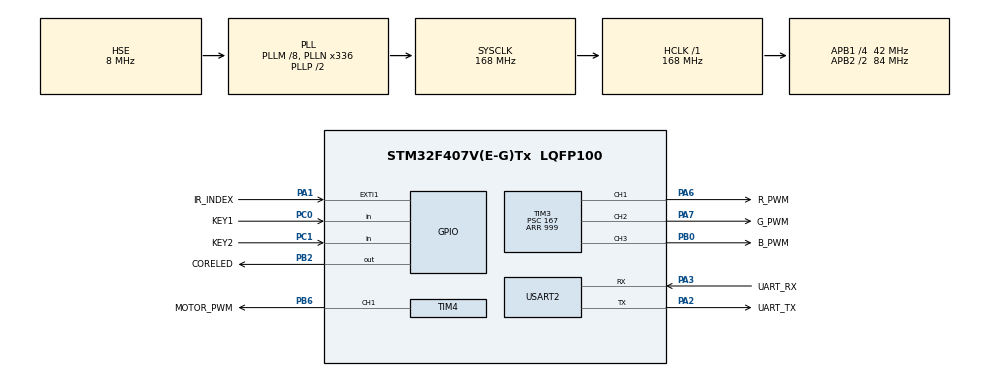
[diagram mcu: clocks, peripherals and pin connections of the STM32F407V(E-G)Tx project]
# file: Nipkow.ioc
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Mcu.Family=STM32F4
Mcu.Name=STM32F407V(E-G)Tx
Mcu.Package=LQFP100
NVIC.EXTI1_IRQn=true\:0\:0\:false\:false\:true\:true\:true\:true
NVIC.PriorityGroup=NVIC_PRIORITYGROUP_4
NVIC.USART2_IRQn=true\:0\:0\:false\:false\:true\:true\:true\:true
PA1.GPIO_Label=IR_INDEX
PA1.GPIO_ModeDefaultEXTI=GPIO_MODE_IT_FALLING
PA1.GPIO_PuPd=GPIO_PULLUP
PA1.Signal=GPXTI1
PA13.Mode=Serial_Wire
PA13.Signal=SYS_JTMS-SWDIO
PA14.Mode=Serial_Wire
PA14.Signal=SYS_JTCK-SWCLK
PA2.GPIO_Label=UART_TX
PA2.Mode=Asynchronous
PA2.Signal=USART2_TX
PA3.GPIO_Label=UART_RX
PA3.Mode=Asynchronous
PA3.Signal=USART2_RX
PA6.GPIO_Label=R_PWM
PA6.Signal=S_TIM3_CH1
PA7.GPIO_Label=G_PWM
PA7.Signal=S_TIM3_CH2
PB0.GPIO_Label=B_PWM
PB0.Signal=S_TIM3_CH3
PB2.GPIO_Label=CORELED
PB2.Signal=GPIO_Output
PB6.GPIO_Label=MOTOR_PWM
PB6.Signal=S_TIM4_CH1
PC0.GPIO_Label=KEY1
PC0.GPIO_PuPd=GPIO_PULLUP
PC0.Signal=GPIO_Input
PC1.GPIO_Label=KEY2
PC1.GPIO_PuPd=GPIO_PULLUP
PC1.Signal=GPIO_Input
PH0-OSC_IN.Mode=HSE-External-Oscillator
PH0-OSC_IN.Signal=RCC_OSC_IN
PH1-OSC_OUT.Mode=HSE-External-Oscillator
PH1-OSC_OUT.Signal=RCC_OSC_OUT
ProjectManager.HeapSize=0x200
ProjectManager.StackSize=0x400
ProjectManager.TargetToolchain=CMake
RCC.48MHZClocksFreq_Value=84000000
RCC.AHBFreq_Value=168000000
RCC.APB1CLKDivider=RCC_HCLK_DIV4
RCC.APB1Freq_Value=42000000
RCC.APB1TimFreq_Value=84000000
RCC.APB2CLKDivider=RCC_HCLK_DIV2
RCC.APB2Freq_Value=84000000
RCC.APB2TimFreq_Value=168000000
RCC.CortexFreq_Value=168000000
RCC.HCLKFreq_Value=168000000
RCC.HSE_VALUE=8000000
RCC.HSI_VALUE=16000000
RCC.LSE_VALUE=32768
RCC.PLLM=8
RCC.PLLN=336
RCC.PLLSourceVirtual=RCC_PLLSOURCE_HSE
RCC.SYSCLKFreq_VALUE=168000000
RCC.SYSCLKSource=RCC_SYSCLKSOURCE_PLLCLK
RCC.VCOOutputFreq_Value=336000000
SH.S_TIM3_CH1.0=TIM3_CH1,PWM Generation1 CH1
SH.S_TIM3_CH2.0=TIM3_CH2,PWM Generation2 CH2
SH.S_TIM3_CH3.0=TIM3_CH3,PWM Generation3 CH3
SH.S_TIM4_CH1.0=TIM4_CH1,PWM Generation1 CH1
TIM3.Channel-PWM\ Generation1\ CH1=TIM_CHANNEL_1
TIM3.Channel-PWM\ Generation2\ CH2=TIM_CHANNEL_2
TIM3.Channel-PWM\ Generation3\ CH3=TIM_CHANNEL_3
TIM3.Period=999
TIM3.Prescaler=167
TIM4.Channel-PWM\ Generation1\ CH1=TIM_CHANNEL_1
TIM4.Period=999
TIM4.Prescaler=167
USART2.VirtualMode=VM_ASYNC
VP_TIM3_VS_ClockSourceINT.Mode=Internal
VP_TIM4_VS_ClockSourceINT.Mode=Internal
board=custom

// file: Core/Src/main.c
/* USER CODE BEGIN Header */
/**
 ******************************************************************************
 * @file           : main.c
 * @brief          : Main program body
 ******************************************************************************
 * @attention
 *
 * Copyright (c) 2026 STMicroelectronics.
 * All rights reserved.
 *
 * This software is licensed under terms that can be found in the LICENSE file
 * in the root directory of this software component.
 * If no LICENSE file comes with this software, it is provided AS-IS.
 *
 ******************************************************************************
 */
/* USER CODE END Header */

/* USER CODE BEGIN Includes */
#include "main.h"
#include "ir.h"
#include "key.h"
#include "motor.h"
#include "rgb.h"
#include "control.h"
#include "cmd.h"
#include "uart.h"
#include "stm32f4xx_hal_gpio.h"
#include <stdint.h>
#include <stdio.h>

/* USER CODE END Includes */

/* USER CODE BEGIN PD */
/* 取消下一行注释以启动时运行 IR 软件自测。 */
/* #define IR_SELF_TEST */

/* USER CODE END PD */

TIM_HandleTypeDef htim3;
TIM_HandleTypeDef htim4;

UART_HandleTypeDef huart2;

void SystemClock_Config(void);
static void MX_GPIO_Init(void);
static void MX_TIM3_Init(void);
static void MX_TIM4_Init(void);
static void MX_USART2_UART_Init(void);

/* USER CODE BEGIN 0 */
int _write(int fd, char *ptr, int len) {
  (void)fd;
  HAL_UART_Transmit(&huart2, (uint8_t *)ptr, (uint16_t)len, 10);
  return len;
}
/* USER CODE END 0 */

int main(void) {

  /* MCU Configuration--------------------------------------------------------*/

  /* Reset of all peripherals, Initializes the Flash interface and the Systick.
   */
  HAL_Init();

  /* Configure the system clock */
  SystemClock_Config();

  /* Initialize all configured peripherals */
  MX_GPIO_Init();
  MX_TIM3_Init();
  MX_TIM4_Init();
  MX_USART2_UART_Init();
  /* USER CODE BEGIN 2 */
  motor_init();
  rgb_init();
  printf("\r\n=== NIPKOW M0 ===\r\n");
  printf("SYSCLK = %lu Hz\r\n", (unsigned long)HAL_RCC_GetSysClockFreq());
  printf("HCLK   = %lu Hz\r\n", (unsigned long)HAL_RCC_GetHCLKFreq());
  ir_init();
  control_init();
  uart_init();
#ifdef IR_SELF_TEST
  uint32_t test_start = ir_last_edge_ms();
  ir_on_edge_at(test_start + 5U);  /* 5ms：丢弃 */
  ir_on_edge_at(test_start + 25U); /* 25ms：计数 1 */
  ir_on_edge_at(test_start + 30U); /* 距上次有效边沿 5ms：丢弃 */
  ir_on_edge_at(test_start + 50U); /* 距上次有效边沿 25ms：计数 2 */
  printf("[IR TEST] count=%lu (expected 2)\r\n", (unsigned long)ir_count());
  ir_init();
#endif
  /* USER CODE END 2 */

  /* Infinite loop */
  /* USER CODE BEGIN WHILE */
  bool prev_led = false;
  static uint32_t key1_last_cnt = 0U;
  static uint32_t key2_last_cnt = 0U;
  while (1) {
    /* USER CODE END WHILE */

    /* USER CODE BEGIN 3 */

    static bool led_active = false;
    static uint32_t led_t0 = 0U;
    /*按键检测 BEGIN*/
    key1_press();
    key2_press();
    uint32_t key1_current_cnt = key1_cnt();
    uint32_t key2_current_cnt = key2_cnt();
    uint32_t difference1 = key1_current_cnt - key1_last_cnt; // RGBM 4
    uint32_t difference2 = key2_current_cnt - key2_last_cnt; //  level 6

    for (uint32_t i = 0; i < difference1; i++) {
      control_next_target();
    }
    key1_last_cnt = key1_current_cnt;
    for (uint32_t i = 0; i < difference2; i++) {
      control_level_step();
    }
    key2_last_cnt = key2_current_cnt;
    if ((difference1 > 0U) || (difference2 > 0U)) {
      control_apply();
    }

    /* 串口命令（M4）：非阻塞，收到完整一行才处理 */
    cmd_poll();

    /*按键检测 END*/
    /*自动循环 BEGIN*/

    /*自动循环 END*/
    /* 按键/串口的状态统一在 control.c 维护 */

    if (ir_take_event()) {
      static uint32_t ir_print_cnt = 0U;
      led_active = true;
      led_t0 = HAL_GetTick();
      /* 每 10 个事件打印一次，避免 115200 串口拖慢主循环 */
      if (++ir_print_cnt >= 10U) {
        ir_print_cnt = 0U;
        printf("[IR] count=%lu last=%lu ms\r\n", (unsigned long)ir_count(),
               (unsigned long)ir_last_edge_ms());
      }
    }

    if (led_active && (HAL_GetTick() - led_t0 >= 1000U)) {
      led_active = false;
    }

    if (led_active != prev_led) {
      prev_led = led_active;
      HAL_GPIO_WritePin(CORELED_GPIO_Port, CORELED_Pin,
                        led_active ? GPIO_PIN_SET : GPIO_PIN_RESET);
    }
  }
  /* USER CODE END 3 */
}

void SystemClock_Config(void) {
  RCC_OscInitTypeDef RCC_OscInitStruct = {0};
  RCC_ClkInitTypeDef RCC_ClkInitStruct = {0};

  /** Configure the main internal regulator output voltage
   */
  __HAL_RCC_PWR_CLK_ENABLE();
  __HAL_PWR_VOLTAGESCALING_CONFIG(PWR_REGULATOR_VOLTAGE_SCALE1);

  /** Initializes the RCC Oscillators according to the specified parameters
   * in the RCC_OscInitTypeDef structure.
   */
  RCC_OscInitStruct.OscillatorType = RCC_OSCILLATORTYPE_HSE;
  RCC_OscInitStruct.HSEState = RCC_HSE_ON;
  RCC_OscInitStruct.PLL.PLLState = RCC_PLL_ON;
  RCC_OscInitStruct.PLL.PLLSource = RCC_PLLSOURCE_HSE;
  RCC_OscInitStruct.PLL.PLLM = 8;
  RCC_OscInitStruct.PLL.PLLN = 336;
  RCC_OscInitStruct.PLL.PLLP = RCC_PLLP_DIV2;
  RCC_OscInitStruct.PLL.PLLQ = 4;
  if (HAL_RCC_OscConfig(&RCC_OscInitStruct) != HAL_OK) {
    Error_Handler();
  }

  /** Initializes the CPU, AHB and APB buses clocks
   */
  RCC_ClkInitStruct.ClockType = RCC_CLOCKTYPE_HCLK | RCC_CLOCKTYPE_SYSCLK |
                                RCC_CLOCKTYPE_PCLK1 | RCC_CLOCKTYPE_PCLK2;
  RCC_ClkInitStruct.SYSCLKSource = RCC_SYSCLKSOURCE_PLLCLK;
  RCC_ClkInitStruct.AHBCLKDivider = RCC_SYSCLK_DIV1;
  RCC_ClkInitStruct.APB1CLKDivider = RCC_HCLK_DIV4;
  RCC_ClkInitStruct.APB2CLKDivider = RCC_HCLK_DIV2;

  if (HAL_RCC_ClockConfig(&RCC_ClkInitStruct, FLASH_LATENCY_5) != HAL_OK) {
    Error_Handler();
  }
}

static void MX_TIM3_Init(void) {

  TIM_ClockConfigTypeDef sClockSourceConfig = {0};
  TIM_MasterConfigTypeDef sMasterConfig = {0};
  TIM_OC_InitTypeDef sConfigOC = {0};

  htim3.Instance = TIM3;
  htim3.Init.Prescaler = 167;
  htim3.Init.CounterMode = TIM_COUNTERMODE_UP;
  htim3.Init.Period = 999;
  htim3.Init.ClockDivision = TIM_CLOCKDIVISION_DIV1;
  htim3.Init.AutoReloadPreload = TIM_AUTORELOAD_PRELOAD_DISABLE;
  if (HAL_TIM_Base_Init(&htim3) != HAL_OK) {
    Error_Handler();
  }
  sClockSourceConfig.ClockSource = TIM_CLOCKSOURCE_INTERNAL;
  if (HAL_TIM_ConfigClockSource(&htim3, &sClockSourceConfig) != HAL_OK) {
    Error_Handler();
  }
  if (HAL_TIM_PWM_Init(&htim3) != HAL_OK) {
    Error_Handler();
  }
  sMasterConfig.MasterOutputTrigger = TIM_TRGO_RESET;
  sMasterConfig.MasterSlaveMode = TIM_MASTERSLAVEMODE_DISABLE;
  if (HAL_TIMEx_MasterConfigSynchronization(&htim3, &sMasterConfig) != HAL_OK) {
    Error_Handler();
  }
  sConfigOC.OCMode = TIM_OCMODE_PWM1;
  sConfigOC.Pulse = 0;
  sConfigOC.OCPolarity = TIM_OCPOLARITY_HIGH;
  sConfigOC.OCFastMode = TIM_OCFAST_DISABLE;
  if (HAL_TIM_PWM_ConfigChannel(&htim3, &sConfigOC, TIM_CHANNEL_1) != HAL_OK) {
    Error_Handler();
  }
  if (HAL_TIM_PWM_ConfigChannel(&htim3, &sConfigOC, TIM_CHANNEL_2) != HAL_OK) {
    Error_Handler();
  }
  if (HAL_TIM_PWM_ConfigChannel(&htim3, &sConfigOC, TIM_CHANNEL_3) != HAL_OK) {
    Error_Handler();
  }
  HAL_TIM_MspPostInit(&htim3);
}

static void MX_TIM4_Init(void) {

  TIM_ClockConfigTypeDef sClockSourceConfig = {0};
  TIM_MasterConfigTypeDef sMasterConfig = {0};
  TIM_OC_InitTypeDef sConfigOC = {0};

  htim4.Instance = TIM4;
  htim4.Init.Prescaler = 167;
  htim4.Init.CounterMode = TIM_COUNTERMODE_UP;
  htim4.Init.Period = 999;
  htim4.Init.ClockDivision = TIM_CLOCKDIVISION_DIV1;
  htim4.Init.AutoReloadPreload = TIM_AUTORELOAD_PRELOAD_DISABLE;
  if (HAL_TIM_Base_Init(&htim4) != HAL_OK) {
    Error_Handler();
  }
  sClockSourceConfig.ClockSource = TIM_CLOCKSOURCE_INTERNAL;
  if (HAL_TIM_ConfigClockSource(&htim4, &sClockSourceConfig) != HAL_OK) {
    Error_Handler();
  }
  if (HAL_TIM_PWM_Init(&htim4) != HAL_OK) {
    Error_Handler();
  }
  sMasterConfig.MasterOutputTrigger = TIM_TRGO_RESET;
  sMasterConfig.MasterSlaveMode = TIM_MASTERSLAVEMODE_DISABLE;
  if (HAL_TIMEx_MasterConfigSynchronization(&htim4, &sMasterConfig) != HAL_OK) {
    Error_Handler();
  }
  sConfigOC.OCMode = TIM_OCMODE_PWM1;
  sConfigOC.Pulse = 0;
  sConfigOC.OCPolarity = TIM_OCPOLARITY_HIGH;
  sConfigOC.OCFastMode = TIM_OCFAST_DISABLE;
  if (HAL_TIM_PWM_ConfigChannel(&htim4, &sConfigOC, TIM_CHANNEL_1) != HAL_OK) {
    Error_Handler();
  }
  HAL_TIM_MspPostInit(&htim4);
}

static void MX_USART2_UART_Init(void) {

  huart2.Instance = USART2;
  huart2.Init.BaudRate = 115200;
  huart2.Init.WordLength = UART_WORDLENGTH_8B;
  huart2.Init.StopBits = UART_STOPBITS_1;
  huart2.Init.Parity = UART_PARITY_NONE;
  huart2.Init.Mode = UART_MODE_TX_RX;
  huart2.Init.HwFlowCtl = UART_HWCONTROL_NONE;
  huart2.Init.OverSampling = UART_OVERSAMPLING_16;
  if (HAL_UART_Init(&huart2) != HAL_OK) {
    Error_Handler();
  }
}

static void MX_GPIO_Init(void) {
  GPIO_InitTypeDef GPIO_InitStruct = {0};

  /* GPIO Ports Clock Enable */
  __HAL_RCC_GPIOH_CLK_ENABLE();
  __HAL_RCC_GPIOC_CLK_ENABLE();
  __HAL_RCC_GPIOA_CLK_ENABLE();
  __HAL_RCC_GPIOB_CLK_ENABLE();

  /*Configure GPIO pin Output Level */
  HAL_GPIO_WritePin(CORELED_GPIO_Port, CORELED_Pin, GPIO_PIN_RESET);

  /*Configure GPIO pins : KEY1_Pin KEY2_Pin */
  GPIO_InitStruct.Pin = KEY1_Pin | KEY2_Pin;
  GPIO_InitStruct.Mode = GPIO_MODE_INPUT;
  GPIO_InitStruct.Pull = GPIO_PULLUP;
  HAL_GPIO_Init(GPIOC, &GPIO_InitStruct);

  /*Configure GPIO pin : IR_INDEX_Pin */
  GPIO_InitStruct.Pin = IR_INDEX_Pin;
  GPIO_InitStruct.Mode = GPIO_MODE_IT_FALLING;
  GPIO_InitStruct.Pull = GPIO_PULLUP;
  HAL_GPIO_Init(IR_INDEX_GPIO_Port, &GPIO_InitStruct);

  /*Configure GPIO pin : CORELED_Pin */
  GPIO_InitStruct.Pin = CORELED_Pin;
  GPIO_InitStruct.Mode = GPIO_MODE_OUTPUT_PP;
  GPIO_InitStruct.Pull = GPIO_NOPULL;
  GPIO_InitStruct.Speed = GPIO_SPEED_FREQ_LOW;
  HAL_GPIO_Init(CORELED_GPIO_Port, &GPIO_InitStruct);

  /* EXTI interrupt init*/
  HAL_NVIC_SetPriority(EXTI1_IRQn, 0, 0);
  HAL_NVIC_EnableIRQ(EXTI1_IRQn);

}

/* USER CODE BEGIN 4 */
void HAL_GPIO_EXTI_Callback(uint16_t GPIO_Pin) {
  if (GPIO_Pin == IR_INDEX_Pin) {
    ir_on_edge_isr();
  }
}
/* USER CODE END 4 */

void Error_Handler(void) {
  __disable_irq();
  while (1) {
  }
}
#ifdef USE_FULL_ASSERT
/**
 * @brief  Reports the name of the source file and the source line number
 *         where the assert_param error has occurred.
 * @param  file: pointer to the source file name
 * @param  line: assert_param error line source number
 * @retval None
 */
void assert_failed(uint8_t *file, uint32_t line) {
  /* USER CODE BEGIN 6 */
  /* User can add his own implementation to report the file name and line
     number, ex: printf("Wrong parameters value: file %s on line %d\r\n", file,
     line) */
  /* USER CODE END 6 */
}
#endif /* USE_FULL_ASSERT */
